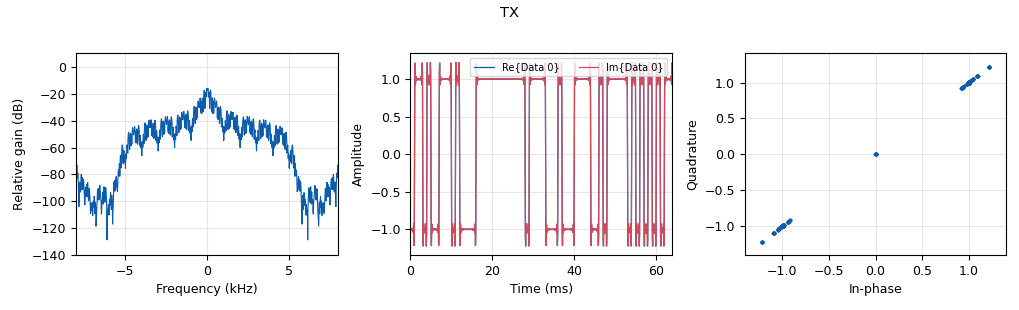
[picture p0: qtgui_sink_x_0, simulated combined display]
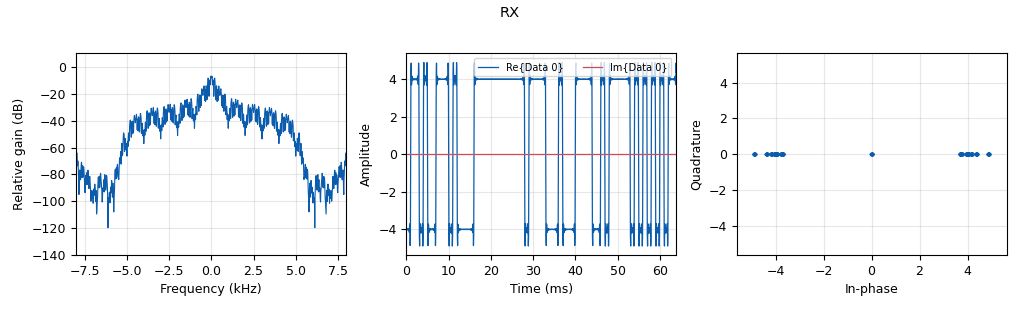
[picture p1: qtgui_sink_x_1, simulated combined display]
options:
  parameters:
    author: chaitb
    generate_options: qt_gui
    id: SISO
    output_language: python
    title: Not titled yet
  states: {}

blocks:
- name: BPSK
  id: variable_constellation
  parameters:
    precision: '8'
    type: bpsk
  states: {}
- name: samp_rate
  id: variable
  parameters:
    value: '16000'
  states: {}
- name: analog_const_source_x_0
  id: analog_const_source_x
  parameters:
    const: '0'
    type: float
  states: {}
- name: analog_random_source_x_0
  id: analog_random_source_x
  parameters:
    max: '2'
    min: '0'
    num_samps: '1000'
    repeat: 'True'
    type: byte
  states: {}
- name: blocks_float_to_complex_0
  id: blocks_float_to_complex
  parameters: {}
  states: {}
- name: blocks_message_debug_0
  id: blocks_message_debug
  parameters: {}
  states: {}
- name: blocks_throttle_0
  id: blocks_throttle
  parameters:
    samples_per_second: samp_rate
    type: complex
  states: {}
- name: channels_channel_model_0
  id: channels_channel_model
  parameters:
    epsilon: '1.0'
    freq_offset: '0.0'
    noise_voltage: '0.0'
    seed: '0'
    taps: 1.0 + 1.0j
  states: {}
- name: channels_fading_model_0
  id: channels_fading_model
  parameters:
    LOS: 'False'
    N: '8'
    fDTs: 0.0/samp_rate
    seed: '0'
  states: {state: disabled}
- name: digital_constellation_modulator_0
  id: digital_constellation_modulator
  parameters:
    constellation: BPSK
    differential: 'True'
    excess_bw: '0.35'
    samples_per_symbol: '2'
  states: {}
- name: digital_constellation_soft_decoder_cf_0
  id: digital_constellation_soft_decoder_cf
  parameters:
    constellation: BPSK
  states: {}
- name: digital_probe_mpsk_snr_est_c_0
  id: digital_probe_mpsk_snr_est_c
  parameters:
    alpha: '0.001'
    msg_nsamples: '10000'
    type: '0'
  states: {}
- name: qtgui_sink_x_0
  id: qtgui_sink_x
  parameters:
    bw: samp_rate
    fc: '0'
    fftsize: '1024'
    name: '"TX"'
    type: complex
  states: {}
- name: qtgui_sink_x_1
  id: qtgui_sink_x
  parameters:
    bw: samp_rate
    fc: '0'
    fftsize: '1024'
    name: '"RX"'
    type: complex
  states: {}
- name: virtual_sink_0
  id: virtual_sink
  parameters:
    stream_id: TO RX
  states: {}
- name: virtual_source_0
  id: virtual_source
  parameters:
    stream_id: TO RX
  states: {}

connections:
- [analog_const_source_x_0, '0', blocks_float_to_complex_0, '1']
- [analog_random_source_x_0, '0', digital_constellation_modulator_0, '0']
- [blocks_float_to_complex_0, '0', digital_probe_mpsk_snr_est_c_0, '0']
- [blocks_float_to_complex_0, '0', qtgui_sink_x_1, '0']
- [blocks_throttle_0, '0', channels_channel_model_0, '0']
- [blocks_throttle_0, '0', channels_fading_model_0, '0']
- [channels_channel_model_0, '0', qtgui_sink_x_0, '0']
- [channels_channel_model_0, '0', virtual_sink_0, '0']
- [channels_fading_model_0, '0', qtgui_sink_x_0, '0']
- [channels_fading_model_0, '0', virtual_sink_0, '0']
- [digital_constellation_modulator_0, '0', blocks_throttle_0, '0']
- [digital_constellation_soft_decoder_cf_0, '0', blocks_float_to_complex_0, '0']
- [digital_probe_mpsk_snr_est_c_0, signal, blocks_message_debug_0, store]
- [digital_probe_mpsk_snr_est_c_0, snr, blocks_message_debug_0, print]
- [virtual_source_0, '0', digital_constellation_soft_decoder_cf_0, '0']

metadata:
  file_format: 1
  grc_version: 3.10.5.1
